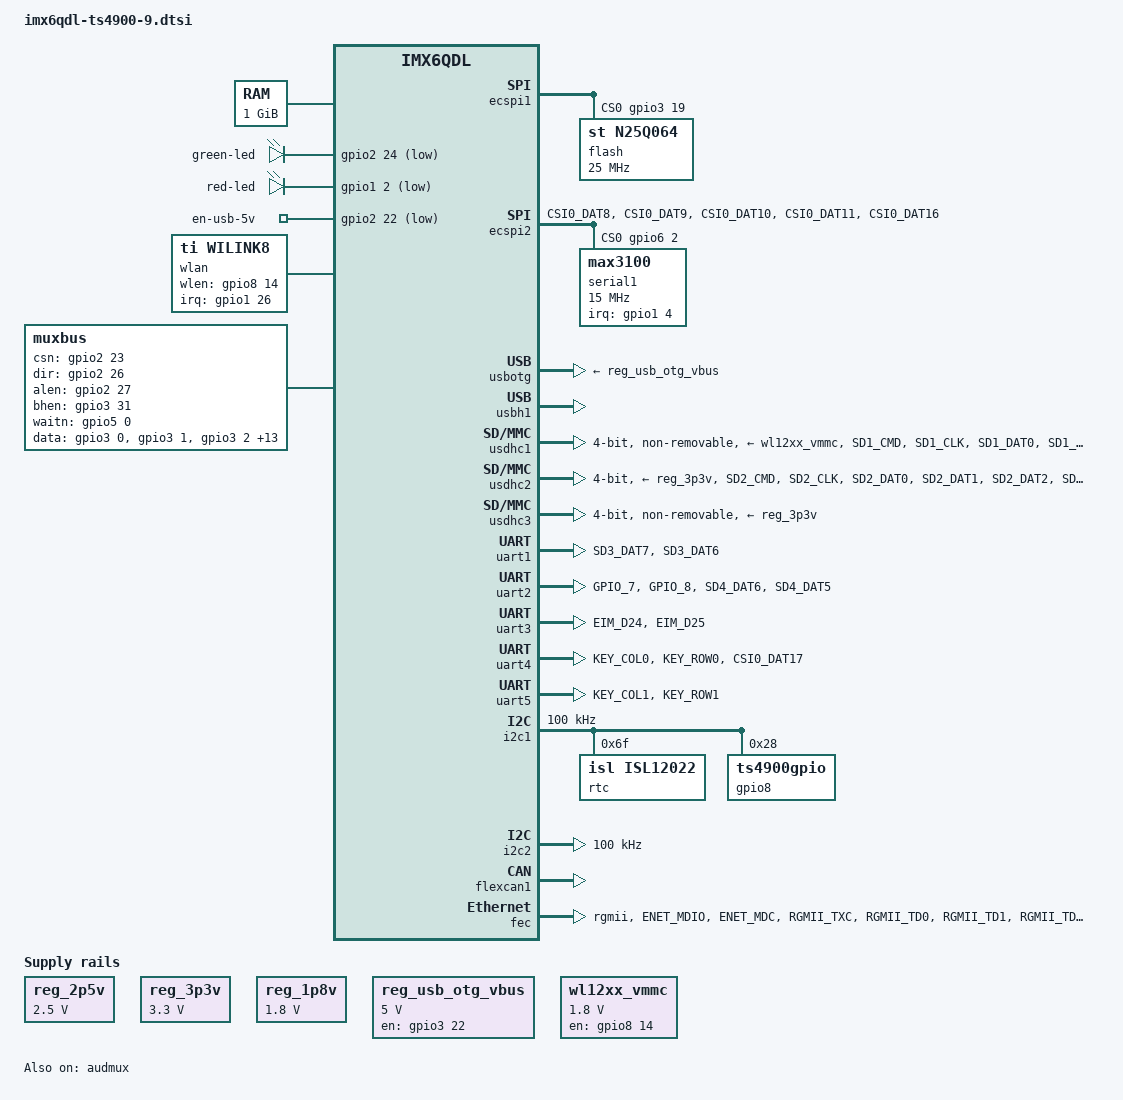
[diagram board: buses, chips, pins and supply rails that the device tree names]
/*
 * Copyright 2011 Freescale Semiconductor, Inc.
 * Copyright 2011 Linaro Ltd.
 *
 * The code contained herein is licensed under the GNU General Public
 * License. You may obtain a copy of the GNU General Public License
 * Version 2 or later at the following locations:
 *
 * http://www.opensource.org/licenses/gpl-license.html
 * http://www.gnu.org/copyleft/gpl.html
 */

#include <dt-bindings/interrupt-controller/irq.h>

/ {
	memory {
		reg = <0x10000000 0x40000000>;
	};

	leds {
		compatible = "gpio-leds";

		green-led {
			label = "green-led";
			gpios = <&gpio2 24 1>;
			default-state = "on";
		};

		red-led {
			label = "red-led";
			gpios = <&gpio1 2 1>;
			default-state = "off";
		};

		en-usb-5v {
			label = "en-usb-5v";
			gpios = <&gpio2 22 1>;
			default-state = "off";
		};
	};


	regulators {
		compatible = "simple-bus";

		reg_2p5v: 2p5v {
			compatible = "regulator-fixed";
			regulator-name = "2P5V";
			regulator-min-microvolt = <2500000>;
			regulator-max-microvolt = <2500000>;
			regulator-always-on;
		};

		reg_3p3v: 3p3v {
			compatible = "regulator-fixed";
			regulator-name = "3P3V";
			regulator-min-microvolt = <3300000>;
			regulator-max-microvolt = <3300000>;
			regulator-always-on;
		};

		reg_1p8v: 1p8v {
			compatible = "regulator-fixed";
			regulator-name = "1P8V";
			regulator-min-microvolt = <1800000>;
			regulator-max-microvolt = <1800000>;
			regulator-always-on;
		};

		reg_usb_otg_vbus: usb_otg_vbus {
			compatible = "regulator-fixed";
			regulator-name = "usb_otg_vbus";
			regulator-min-microvolt = <5000000>;
			regulator-max-microvolt = <5000000>;
			gpio = <&gpio3 22 0>;
			enable-active-high;
		};

		wl12xx_vmmc: wl12xx_vmmc {
			compatible = "regulator-fixed";
			regulator-name = "wl12xx_vmmc";
			regulator-min-microvolt = <1800000>;
			regulator-max-microvolt = <1800000>;
			gpio = <&gpio8 14 0>;
			startup-delay-us = <100000>;
			enable-active-high;
			regulator-boot-on;
		};
	};

	wlan {
		compatible = "ti,wilink8";
		interrupt-parent = <&gpio1>;
		wlen-gpio = <&gpio8 14 0>;
		interrupts = <26 IRQ_TYPE_EDGE_FALLING>;
	};

	muxbus {
		compatible = "muxbus";
		csn-gpio = <&gpio2 23 0>;
		dir-gpio = <&gpio2 26 0>;
		alen-gpio = <&gpio2 27 0>;
		bhen-gpio = <&gpio3 31 0>;
		waitn-gpio = <&gpio5 0 0>;	
		// Data from 0 to 15
		data-gpios = <&gpio3 0 0>,
		     <&gpio3 1 0>,
		     <&gpio3 2 0>,
		     <&gpio3 3 0>,
		     <&gpio3 4 0>,
		     <&gpio3 5 0>,
		     <&gpio3 6 0>,
		     <&gpio3 7 0>,
		     <&gpio3 8 0>,
		     <&gpio3 9 0>,
		     <&gpio3 10 0>,
		     <&gpio3 11 0>,
		     <&gpio3 12 0>,
		     <&gpio3 13 0>,
		     <&gpio3 14 0>,
		     <&gpio3 15 0>;
	};
};

&ecspi1 {
	fsl,spi-num-chipselects = <1>;
	cs-gpios = <&gpio3 19 0>;
	pinctrl-names = "default";
	pinctrl-0 = <&pinctrl_ecspi1_1>;
	status = "okay";
	flash: n25q064@0 {
		compatible = "st,n25q064";
		spi-max-frequency = <25000000>;
		reg = <0>;
		#address-cells = <1>;
		#size-cells = <1>;

		uboot@0 {
			label = "U-Boot";
			reg = <0x0000000 0x0100000>;
		};
		ubootenv@0100000 {
			label = "env";
			reg = <0x0100000 0x0020000>;
		};
		user@0400000 {
			label = "user-data";
			reg = <0x0400000 0x0400000>;
		};
	};
};

&ecspi2 {
	fsl,spi-num-chipselects = <1>;
	cs-gpios = <&gpio6 2 0>;
	pinctrl-names = "default";
	pinctrl-0 = <&pinctrl_ecspi2_4900>;
	status = "okay";
	serial1: max3100-1@0 {
		compatible = "max3100";
		reg = <0>;
		interrupt-parent = <&gpio1>;
		interrupts = <4 2>;
		spi-max-frequency = <15000000>;
		loopback = <0>;
		crystal = <1>;
		poll-time = <100>;
	};
};

&iomuxc {
	pinctrl-names = "default";
	pinctrl-0 = <&pinctrl_misc>;

	uart1-4900 {
		pinctrl_uart1_4900: uart1-grp-2 {
			fsl,pins = <
				MX6QDL_PAD_SD3_DAT7__UART1_TX_DATA	0x1b0b1
				MX6QDL_PAD_SD3_DAT6__UART1_RX_DATA	0x1b0b1
			>;
		};
	};

	uart2-4900 {
		pinctrl_uart2_4900: uart2-grp-2 {
			fsl,pins = <
				MX6QDL_PAD_GPIO_7__UART2_TX_DATA	0x1b0b1
				MX6QDL_PAD_GPIO_8__UART2_RX_DATA	0x1b0b1
				MX6QDL_PAD_SD4_DAT6__UART2_CTS_B    0x1b0b1
				MX6QDL_PAD_SD4_DAT5__UART2_RTS_B    0x130B1
			>;
		};
	};

	uart3-4900 {
		pinctrl_uart3_4900: uart3-grp-2 {
			fsl,pins = <
				MX6QDL_PAD_EIM_D24__UART3_TX_DATA	0x1b0b1
				MX6QDL_PAD_EIM_D25__UART3_RX_DATA	0x1b0b1
			>;
		};
	};

	uart4-4900 {
		pinctrl_uart4_4900: uart4-grp-2 {
			fsl,pins = <
				MX6QDL_PAD_KEY_COL0__UART4_TX_DATA	0x1b0b1
				MX6QDL_PAD_KEY_ROW0__UART4_RX_DATA	0x1b0b1
				MX6QDL_PAD_CSI0_DAT17__UART4_CTS_B  0x1b0b1
			>;
		};
	};

	uart5-4900 {
		pinctrl_uart5_4900: uart5-grp-2 {
			fsl,pins = <
				MX6QDL_PAD_KEY_COL1__UART5_TX_DATA	0x1b0b1
				MX6QDL_PAD_KEY_ROW1__UART5_RX_DATA	0x1b0b1
			>;
		};
	};

	// TODO verify irq uses same pad settings
	usdhc1-4900 {
		pinctrl_usdhc1_4900: usdhc1grp-1 {
			fsl,pins = <
				MX6QDL_PAD_SD1_CMD__SD1_CMD	     0x17059
				MX6QDL_PAD_SD1_CLK__SD1_CLK	     0x10059
				MX6QDL_PAD_SD1_DAT0__SD1_DATA0	 0x17059
				MX6QDL_PAD_SD1_DAT1__SD1_DATA1	 0x17059
				MX6QDL_PAD_SD1_DAT2__SD1_DATA2	 0x17059
				MX6QDL_PAD_SD1_DAT3__SD1_DATA3	 0x17059
				MX6QDL_PAD_ENET_RXD1__GPIO1_IO26 0x17059 // WIFI IRQ								
			>;
		};
	};

	usdhc2-4900 {
		pinctrl_usdhc2_4900: usdhc2grp-2 {
			fsl,pins = <
				MX6QDL_PAD_SD2_CMD__SD2_CMD    0x17059
				MX6QDL_PAD_SD2_CLK__SD2_CLK    0x10059
				MX6QDL_PAD_SD2_DAT0__SD2_DATA0 0x17059
				MX6QDL_PAD_SD2_DAT1__SD2_DATA1 0x17059
				MX6QDL_PAD_SD2_DAT2__SD2_DATA2 0x17059
				MX6QDL_PAD_SD2_DAT3__SD2_DATA3 0x17059
			>;
		};
	};

	ecspi2-4900 {
		pinctrl_ecspi2_4900: ecspi2-1 {
			fsl,pins = <
				MX6QDL_PAD_CSI0_DAT8__ECSPI2_SCLK    0x100b1
				MX6QDL_PAD_CSI0_DAT9__ECSPI2_MOSI    0x100b1
				MX6QDL_PAD_CSI0_DAT10__ECSPI2_MISO   0x100b1
				MX6QDL_PAD_CSI0_DAT11__GPIO5_IO29    0x100b1 // Offboard CS0#
				MX6QDL_PAD_CSI0_DAT16__GPIO6_IO02    0x100b1 // FPGA CS1#
			>;
		};
	};

	enet-4900 {
		pinctrl_enet_4900: enet-4900 {
			fsl,pins = <
				MX6QDL_PAD_ENET_MDIO__ENET_MDIO       0x1b0b0
				MX6QDL_PAD_ENET_MDC__ENET_MDC         0x1b0b0
				MX6QDL_PAD_RGMII_TXC__RGMII_TXC       0x1b0b0
				MX6QDL_PAD_RGMII_TD0__RGMII_TD0       0x1b0b0
				MX6QDL_PAD_RGMII_TD1__RGMII_TD1       0x1b0b0
				MX6QDL_PAD_RGMII_TD2__RGMII_TD2       0x1b0b0
				MX6QDL_PAD_RGMII_TD3__RGMII_TD3       0x1b0b0
				MX6QDL_PAD_RGMII_TX_CTL__RGMII_TX_CTL 0x1b0b0
				MX6QDL_PAD_ENET_REF_CLK__ENET_TX_CLK  0x1b0b0
				MX6QDL_PAD_RGMII_RXC__RGMII_RXC       0x1b0b0
				MX6QDL_PAD_RGMII_RD0__RGMII_RD0       0x1b0b0
				MX6QDL_PAD_RGMII_RD1__RGMII_RD1       0x1b0b0
				MX6QDL_PAD_RGMII_RD2__RGMII_RD2       0x1b0b0
				MX6QDL_PAD_RGMII_RD3__RGMII_RD3       0x1b0b0
				MX6QDL_PAD_RGMII_RX_CTL__RGMII_RX_CTL 0x1b0b0
				MX6QDL_PAD_ENET_REF_CLK__ENET_TX_CLK  0x4001b0a8
				MX6QDL_PAD_ENET_TX_EN__GPIO1_IO28     0x80000000
				MX6QDL_PAD_DI0_PIN4__GPIO4_IO20       0x80000000 // ETH_PHY_RESET
			>;
		};
	};
	
	misc {
		pinctrl_misc: misc {
			fsl,pins = <
				MX6QDL_PAD_EIM_A19__GPIO2_IO19         0x80000000 // EN_LCD_3.3V
				MX6QDL_PAD_EIM_D19__GPIO3_IO19         0x80000000 // SPI_1_CS#
				MX6QDL_PAD_GPIO_0__CCM_CLKO1           0x130b0    // Audio CLK
				MX6QDL_PAD_CSI0_VSYNC__GPIO5_IO21      0x80000000 // FPGA_RESET#
				MX6QDL_PAD_CSI0_DATA_EN__GPIO5_IO20    0x80000000 // FPGA_DONE
				MX6QDL_PAD_SD3_RST__GPIO7_IO08         0x80000000 // EMMC_RESET#
				MX6QDL_PAD_GPIO_2__GPIO1_IO02          0x80000000 // RED_LED#
				MX6QDL_PAD_GPIO_3__XTALOSC_REF_CLK_24M 0x10       // FPGA 24MHZ
				MX6QDL_PAD_GPIO_4__GPIO1_IO04          0x80000000 // FPGA_IRQ
				MX6QDL_PAD_GPIO_5__GPIO1_IO05          0x80000000 // DIO_1
				MX6QDL_PAD_GPIO_6__GPIO1_IO06          0x80000000 // DIO_2
				MX6QDL_PAD_GPIO_9__GPIO1_IO09          0x80000000 // DIO_3
				MX6QDL_PAD_GPIO_16__GPIO7_IO11         0x80000000 // DIO_4
				MX6QDL_PAD_GPIO_17__GPIO7_IO12         0x80000000 // DIO_5
				MX6QDL_PAD_GPIO_19__GPIO4_IO05         0x80000000 // DIO_7
				MX6QDL_PAD_CSI0_MCLK__GPIO5_IO19       0x80000000 // DIO_8
				MX6QDL_PAD_CSI0_PIXCLK__GPIO5_IO18     0x80000000 // DIO_9
				MX6QDL_PAD_CSI0_DAT12__GPIO5_IO30      0x80000000 // DIO_0
				MX6QDL_PAD_CSI0_DAT13__GPIO5_IO31      0x80000000 // DIO_6
				MX6QDL_PAD_EIM_OE__GPIO2_IO25          0x80000000 // DIO_15
				MX6QDL_PAD_EIM_CS1__GPIO2_IO24         0x80000000 // GREEN_LED#
				MX6QDL_PAD_EIM_A16__GPIO2_IO22         0x80000000 // EN_USB_5V#
				MX6QDL_PAD_EIM_A17__GPIO2_IO21         0x80000000 // OFF_BD_RESET#
				MX6QDL_PAD_EIM_A18__GPIO2_IO20         0x80000000 // DIO_14
				MX6QDL_PAD_EIM_A20__GPIO2_IO18         0x80000000 // DIO_16
				MX6QDL_PAD_EIM_A21__GPIO2_IO17         0x80000000 // DIO_12
				MX6QDL_PAD_EIM_A22__GPIO2_IO16         0x80000000 // DIO_18
				MX6QDL_PAD_EIM_A23__GPIO6_IO06         0x80000000 // DIO_19
				MX6QDL_PAD_EIM_A24__GPIO5_IO04         0x80000000 // DIO_20
				MX6QDL_PAD_EIM_BCLK__GPIO6_IO31        0x80000000 // DIO_13
				MX6QDL_PAD_EIM_EB0__GPIO2_IO28         0x80000000 // EN_SD_POWER#

				MX6QDL_PAD_EIM_D31__GPIO3_IO31         0xa0f9 // "DIO_10" assuming mod

				MX6QDL_PAD_EIM_LBA__EIM_LBA_B          0xa0f9 // BUS_ALE#
				MX6QDL_PAD_EIM_RW__EIM_RW              0xa0f9 // BUS_DIR
				MX6QDL_PAD_EIM_CS0__EIM_CS0_B          0xa0f9 // BUS_CS#
				MX6QDL_PAD_EIM_WAIT__EIM_WAIT_B        0xa0f9 // EIM_WAIT#
				MX6QDL_PAD_EIM_EB1__EIM_EB1_B          0xa0f9 // "BUS_BHE#" assuming mod
				MX6QDL_PAD_EIM_DA0__EIM_AD00           0xa0f9 // MUX_AD_00
				MX6QDL_PAD_EIM_DA1__EIM_AD01           0xa0f9 // MUX_AD_01
				MX6QDL_PAD_EIM_DA2__EIM_AD02           0xa0f9 // MUX_AD_02
				MX6QDL_PAD_EIM_DA3__EIM_AD03           0xa0f9 // MUX_AD_03
				MX6QDL_PAD_EIM_DA4__EIM_AD04           0xa0f9 // MUX_AD_04
				MX6QDL_PAD_EIM_DA5__EIM_AD05           0xa0f9 // MUX_AD_05
				MX6QDL_PAD_EIM_DA6__EIM_AD06           0xa0f9 // MUX_AD_06
				MX6QDL_PAD_EIM_DA7__EIM_AD07           0xa0f9 // MUX_AD_07
				MX6QDL_PAD_EIM_DA8__EIM_AD08           0xa0f9 // MUX_AD_08
				MX6QDL_PAD_EIM_DA9__EIM_AD09           0xa0f9 // MUX_AD_09
				MX6QDL_PAD_EIM_DA10__EIM_AD10          0xa0f9 // MUX_AD_10
				MX6QDL_PAD_EIM_DA11__EIM_AD11          0xa0f9 // MUX_AD_11
				MX6QDL_PAD_EIM_DA12__EIM_AD12          0xa0f9 // MUX_AD_12
				MX6QDL_PAD_EIM_DA13__EIM_AD13          0xa0f9 // MUX_AD_13
				MX6QDL_PAD_EIM_DA14__EIM_AD14          0xa0f9 // MUX_AD_14
				MX6QDL_PAD_EIM_DA15__EIM_AD15          0xa0f9 // MUX_AD_15
			>;
		};
	};
};

&usbotg {
	vbus-supply = <&reg_usb_otg_vbus>;
	pinctrl-names = "default";
	pinctrl-0 = <&pinctrl_usbotg_1>;
	disable-over-current;
	status = "okay";
};

&usbh1 {
	status = "okay";
};

&weim {
    status = "disabled";
};

// WIFI
&usdhc1 { 
	pinctrl-names = "default";
	pinctrl-0 = <&pinctrl_usdhc1_4900>;
	vmmc-supply = <&wl12xx_vmmc>;
	bus-width = <4>;
	status = "okay";
	non-removable;
};

// SD
&usdhc2 {
	pinctrl-names = "default";
	pinctrl-0 = <&pinctrl_usdhc2_4900>;
	vmmc-supply = <&reg_3p3v>;
	bus-width = <4>;
	status = "okay";
	//fsl,cd-controller;
	fsl,wp-controller;	
};

// eMMC
&usdhc3 {
	pinctrl-names = "default";
	pinctrl-0 = <&pinctrl_usdhc3_2>;
	vmmc-supply = <&reg_3p3v>;
	bus-width = <4>;
	status = "okay";
	fsl,wp-controller;
	non-removable;
}; 

&audmux {
	status = "okay";
	pinctrl-names = "default";
	pinctrl-0 = <&pinctrl_audmux_2>;
};

&uart1 {
	status = "okay";
	pinctrl-names = "default";
	pinctrl-0 = <&pinctrl_uart1_4900>;
};

&uart2 {
	status = "okay";
	pinctrl-names = "default";
	pinctrl-0 = <&pinctrl_uart2_4900>;
	fsl,uart-has-rtscts;
};

&uart3 {
	status = "okay";
	pinctrl-names = "default";
	pinctrl-0 = <&pinctrl_uart3_4900>;
};

&uart4 {
	status = "okay";
	pinctrl-names = "default";
	pinctrl-0 = <&pinctrl_uart4_4900>;
};

&uart5 {
	status = "okay";
	pinctrl-names = "default";
	pinctrl-0 = <&pinctrl_uart5_4900>;
};

&i2c1 {
	status = "okay";
	clock-frequency = <100000>;
	pinctrl-names = "default";
	pinctrl-0 = <&pinctrl_i2c1_1>;

	rtc: isl12022@6f {
		compatible = "isl,isl12022";
		reg = <0x6f>;
	};

	gpio8: ts4900gpio@28 {
		compatible = "ts4900gpio";
		reg = <0x28>;
		#gpio-cells = <2>;
		gpio-controller;
	};
};

&i2c2 {
	status = "okay";
	clock-frequency = <100000>;
	pinctrl-names = "default";
	pinctrl-0 = <&pinctrl_i2c2_2>;
};

&flexcan1 {
        pinctrl-names = "default";
        pinctrl-0 = <&pinctrl_flexcan1_1>;
        status = "okay";
};

&fec {
		pinctrl-names = "default";
		pinctrl-0 = <&pinctrl_enet_4900>;
		phy-mode = "rgmii";
		status = "okay";	
};
